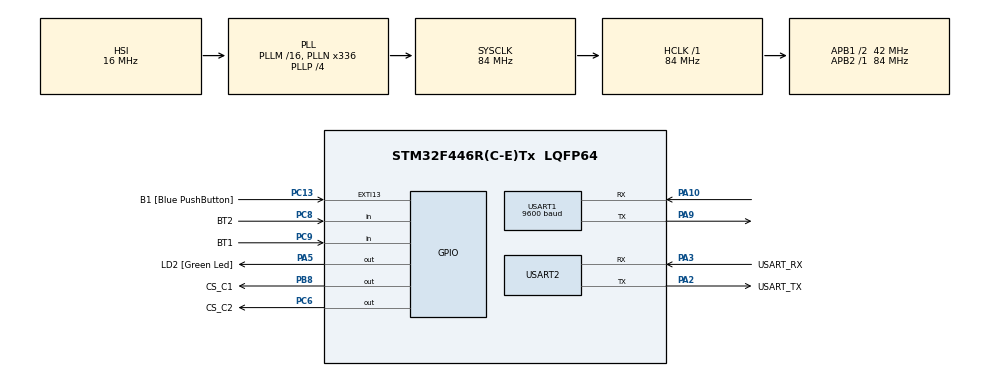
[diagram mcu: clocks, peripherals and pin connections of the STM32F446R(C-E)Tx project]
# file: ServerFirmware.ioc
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Mcu.Family=STM32F4
Mcu.Name=STM32F446R(C-E)Tx
Mcu.Package=LQFP64
NVIC.PriorityGroup=NVIC_PRIORITYGROUP_0
PA10.Mode=Asynchronous
PA10.Signal=USART1_RX
PA13.GPIO_Label=TMS
PA13.Mode=Serial_Wire
PA13.Signal=SYS_JTMS-SWDIO
PA14.GPIO_Label=TCK
PA14.Mode=Serial_Wire
PA14.Signal=SYS_JTCK-SWCLK
PA2.GPIO_Label=USART_TX
PA2.Mode=Asynchronous
PA2.Signal=USART2_TX
PA3.GPIO_Label=USART_RX
PA3.Mode=Asynchronous
PA3.Signal=USART2_RX
PA5.GPIO_Label=LD2 [Green Led]
PA5.Signal=GPIO_Output
PA9.Mode=Asynchronous
PA9.Signal=USART1_TX
PB3.GPIO_Label=SWO
PB3.Signal=SYS_JTDO-SWO
PB8.GPIO_Label=CS_C1
PB8.Signal=GPIO_Output
PC13.GPIO_Label=B1 [Blue PushButton]
PC13.GPIO_ModeDefaultEXTI=GPIO_MODE_IT_FALLING
PC13.Signal=GPXTI13
PC14-OSC32_IN.Mode=LSE-External-Oscillator
PC14-OSC32_IN.Signal=RCC_OSC32_IN
PC15-OSC32_OUT.Mode=LSE-External-Oscillator
PC15-OSC32_OUT.Signal=RCC_OSC32_OUT
PC6.GPIO_Label=CS_C2
PC6.Signal=GPIO_Output
PC8.GPIO_Label=BT2
PC8.GPIO_PuPd=GPIO_PULLDOWN
PC8.Signal=GPIO_Input
PC9.GPIO_Label=BT1
PC9.GPIO_PuPd=GPIO_PULLDOWN
PC9.Signal=GPIO_Input
PH0-OSC_IN.Mode=HSE-External-Oscillator
PH0-OSC_IN.Signal=RCC_OSC_IN
PH1-OSC_OUT.Mode=HSE-External-Oscillator
PH1-OSC_OUT.Signal=RCC_OSC_OUT
ProjectManager.HeapSize=0x200
ProjectManager.StackSize=0x400
ProjectManager.TargetToolchain=STM32CubeIDE
RCC.48MHZClocksFreq_Value=84000000
RCC.AHBFreq_Value=84000000
RCC.APB1CLKDivider=RCC_HCLK_DIV2
RCC.APB1Freq_Value=42000000
RCC.APB1TimFreq_Value=84000000
RCC.APB2Freq_Value=84000000
RCC.APB2TimFreq_Value=84000000
RCC.CortexFreq_Value=84000000
RCC.FLatency-AdvancedSettings=FLASH_LATENCY_2
RCC.HCLKFreq_Value=84000000
RCC.HSE_VALUE=8000000
RCC.HSI_VALUE=16000000
RCC.PLLN=336
RCC.PLLP=RCC_PLLP_DIV4
RCC.SYSCLKFreq_VALUE=84000000
RCC.SYSCLKSource=RCC_SYSCLKSOURCE_PLLCLK
RCC.USBFreq_Value=168000000
RCC.VCOOutputFreq_Value=336000000
USART1.BaudRate=9600
USART1.VirtualMode=VM_ASYNC
USART2.VirtualMode=VM_ASYNC
board=NUCLEO-F446RE

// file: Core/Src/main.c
/* USER CODE BEGIN Header */
/**
  ******************************************************************************
  * @file           : main.c
  * @brief          : Main program body
  ******************************************************************************
  * @attention
  *
  * Copyright (c) 2024 STMicroelectronics.
  * All rights reserved.
  *
  * This software is licensed under terms that can be found in the LICENSE file
  * in the root directory of this software component.
  * If no LICENSE file comes with this software, it is provided AS-IS.
  *
  ******************************************************************************
  */
/* USER CODE END Header */
#include "main.h"
#include "usart.h"
#include "gpio.h"

/* USER CODE BEGIN Includes */
#include "servercontroller.h"
/* USER CODE END Includes */

/* USER CODE BEGIN PV */

Client_Infos_t g_clientsConfigs[] = {
	{ // Client 1
		.inButton.Port = BT1_GPIO_Port,
		.inButton.Pin = BT1_Pin,
		.outChipSelect.Port = CS_C1_GPIO_Port,
		.outChipSelect.Pin = CS_C1_Pin
	},
	{ // Client 2
		.inButton.Port = BT2_GPIO_Port,
		.inButton.Pin = BT2_Pin,
		.outChipSelect.Port = CS_C2_GPIO_Port,
		.outChipSelect.Pin = CS_C2_Pin
	}
};

SERVERCONTROLLER_Config_t g_servercontrollerConfig = {
	.clients = &g_clientsConfigs[0],
	.usart = &huart1,
	.numClients = 2
};

/* USER CODE END PV */

void SystemClock_Config(void);

int main(void)
{

  /* MCU Configuration--------------------------------------------------------*/

  /* Reset of all peripherals, Initializes the Flash interface and the Systick. */
  HAL_Init();

  /* Configure the system clock */
  SystemClock_Config();

  /* Initialize all configured peripherals */
  MX_GPIO_Init();
  MX_USART2_UART_Init();
  MX_USART1_UART_Init();
  /* USER CODE BEGIN 2 */

  SERVERCONTROLLER_Init(&g_servercontrollerConfig);

  /* USER CODE END 2 */

  /* Infinite loop */
  /* USER CODE BEGIN WHILE */
  while (1)
  {
	  SERVERCONTROLLER_Loop();

    /* USER CODE END WHILE */

  }
}

void SystemClock_Config(void)
{
  RCC_OscInitTypeDef RCC_OscInitStruct = {0};
  RCC_ClkInitTypeDef RCC_ClkInitStruct = {0};

  /** Configure the main internal regulator output voltage
  */
  __HAL_RCC_PWR_CLK_ENABLE();
  __HAL_PWR_VOLTAGESCALING_CONFIG(PWR_REGULATOR_VOLTAGE_SCALE3);

  /** Initializes the RCC Oscillators according to the specified parameters
  * in the RCC_OscInitTypeDef structure.
  */
  RCC_OscInitStruct.OscillatorType = RCC_OSCILLATORTYPE_HSI;
  RCC_OscInitStruct.HSIState = RCC_HSI_ON;
  RCC_OscInitStruct.HSICalibrationValue = RCC_HSICALIBRATION_DEFAULT;
  RCC_OscInitStruct.PLL.PLLState = RCC_PLL_ON;
  RCC_OscInitStruct.PLL.PLLSource = RCC_PLLSOURCE_HSI;
  RCC_OscInitStruct.PLL.PLLM = 16;
  RCC_OscInitStruct.PLL.PLLN = 336;
  RCC_OscInitStruct.PLL.PLLP = RCC_PLLP_DIV4;
  RCC_OscInitStruct.PLL.PLLQ = 2;
  RCC_OscInitStruct.PLL.PLLR = 2;
  if (HAL_RCC_OscConfig(&RCC_OscInitStruct) != HAL_OK)
  {
    Error_Handler();
  }

  /** Initializes the CPU, AHB and APB buses clocks
  */
  RCC_ClkInitStruct.ClockType = RCC_CLOCKTYPE_HCLK|RCC_CLOCKTYPE_SYSCLK
                              |RCC_CLOCKTYPE_PCLK1|RCC_CLOCKTYPE_PCLK2;
  RCC_ClkInitStruct.SYSCLKSource = RCC_SYSCLKSOURCE_PLLCLK;
  RCC_ClkInitStruct.AHBCLKDivider = RCC_SYSCLK_DIV1;
  RCC_ClkInitStruct.APB1CLKDivider = RCC_HCLK_DIV2;
  RCC_ClkInitStruct.APB2CLKDivider = RCC_HCLK_DIV1;

  if (HAL_RCC_ClockConfig(&RCC_ClkInitStruct, FLASH_LATENCY_2) != HAL_OK)
  {
    Error_Handler();
  }
}

void Error_Handler(void)
{
  __disable_irq();
  while (1)
  {
  }
}
